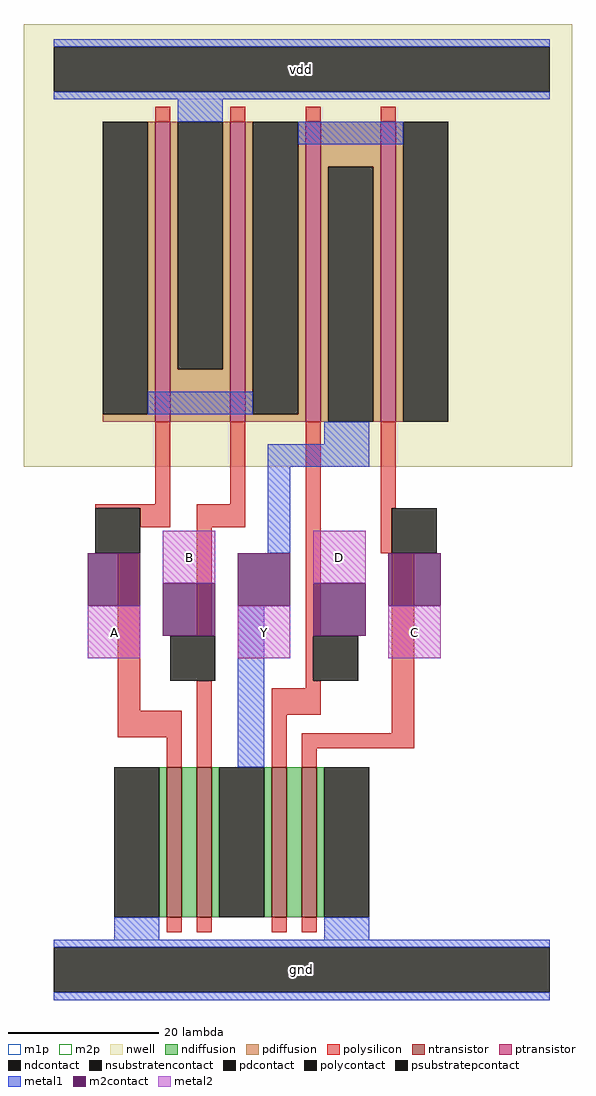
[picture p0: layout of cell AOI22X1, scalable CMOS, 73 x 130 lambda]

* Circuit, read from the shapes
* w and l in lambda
.subckt AOI22X1 A B C D Y vdd gnd
M1 n1 A gnd gnd nfet w=20 l=2
M2 Y B n1 gnd nfet w=20 l=2
M3 n2 D Y gnd nfet w=20 l=2
M4 gnd C n2 gnd nfet w=20 l=2
M5 vdd A n3 vdd pfet w=40 l=2
M6 n3 B vdd vdd pfet w=40 l=2
M7 Y D n3 vdd pfet w=40 l=2
M8 n3 C Y vdd pfet w=40 l=2
.ends

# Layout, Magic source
magic
tech scmos
magscale 1 2
<< nwell >>
rect -14 134 132 252
<< ntransistor >>
rect 24 14 28 54
rect 32 14 36 54
rect 52 14 56 54
rect 60 14 64 54
<< ptransistor >>
rect 21 146 25 226
rect 41 146 45 226
rect 61 146 65 226
rect 81 146 85 226
<< ndiffusion >>
rect 22 14 24 54
rect 28 14 32 54
rect 36 14 38 54
rect 50 14 52 54
rect 56 14 60 54
rect 64 14 66 54
<< pdiffusion >>
rect 19 148 21 226
rect 7 146 21 148
rect 25 160 27 226
rect 39 160 41 226
rect 25 146 41 160
rect 45 148 47 226
rect 59 148 61 226
rect 45 146 61 148
rect 65 214 81 226
rect 65 146 67 214
rect 79 146 81 214
rect 85 146 87 226
<< ndcontact >>
rect 10 14 22 54
rect 38 14 50 54
rect 66 14 78 54
<< pdcontact >>
rect 7 148 19 226
rect 27 160 39 226
rect 47 148 59 226
rect 67 146 79 214
rect 87 146 99 226
<< psubstratepcontact >>
rect -6 -6 126 6
<< nsubstratencontact >>
rect -6 234 126 246
<< polysilicon >>
rect 21 226 25 230
rect 41 226 45 230
rect 61 226 65 230
rect 81 226 85 230
rect 21 124 25 146
rect 41 124 45 146
rect 5 123 25 124
rect 17 118 25 123
rect 32 118 45 124
rect 11 69 17 111
rect 32 89 36 118
rect 61 89 65 146
rect 81 123 85 146
rect 81 111 84 123
rect 61 77 63 89
rect 11 62 28 69
rect 24 54 28 62
rect 32 54 36 77
rect 61 75 65 77
rect 52 68 65 75
rect 52 54 56 68
rect 84 63 90 111
rect 60 59 90 63
rect 60 54 64 59
rect 24 10 28 14
rect 32 10 36 14
rect 52 10 56 14
rect 60 10 64 14
<< polycontact >>
rect 5 111 17 123
rect 84 111 96 123
rect 25 77 37 89
rect 63 77 75 89
<< metal1 >>
rect -6 246 126 248
rect -6 232 126 234
rect 27 226 39 232
rect 19 148 47 154
rect 59 220 87 226
rect 66 140 78 146
rect 51 134 78 140
rect 51 111 57 134
rect 43 54 50 97
rect 10 8 22 14
rect 66 8 78 14
rect -6 6 126 8
rect -6 -8 126 -6
<< m2contact >>
rect 3 97 17 111
rect 23 89 37 103
rect 43 97 57 111
rect 63 89 77 103
rect 83 97 97 111
<< metal2 >>
rect 3 83 17 97
rect 23 103 37 117
rect 43 83 57 97
rect 63 103 77 117
rect 83 83 97 97
<< m1p >>
rect -6 232 126 248
rect -6 -8 126 8
<< m2p >>
rect 23 103 37 117
rect 63 103 77 117
rect 3 83 17 97
rect 43 83 57 97
rect 83 83 97 97
<< labels >>
rlabel metal1 -6 -8 126 8 0 gnd
port 6 nsew ground bidirectional abutment
rlabel metal1 -6 232 126 248 0 vdd
port 5 nsew power bidirectional abutment
rlabel metal2 3 83 17 97 0 A
port 0 nsew signal input
rlabel metal2 23 103 37 117 0 B
port 1 nsew signal input
rlabel metal2 83 83 97 97 0 C
port 2 nsew signal input
rlabel metal2 63 103 77 117 0 D
port 3 nsew signal input
rlabel metal2 43 83 57 97 0 Y
port 4 nsew signal output
<< properties >>
string FIXED_BBOX 0 0 120 240
string LEFclass CORE
string LEFsite core
string LEFsymmetry X Y
<< end >>
